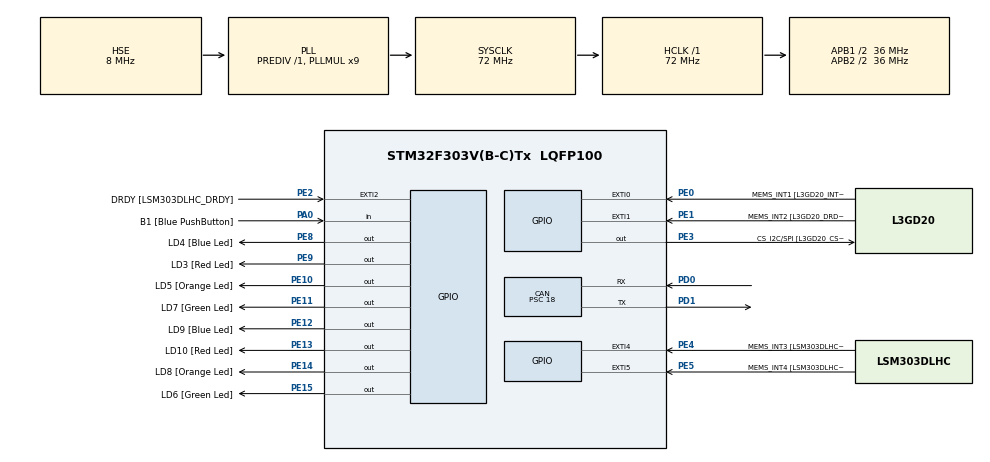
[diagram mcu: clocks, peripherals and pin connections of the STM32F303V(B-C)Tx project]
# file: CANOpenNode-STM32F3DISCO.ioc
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CAN.BS1=CAN_BS1_13TQ
CAN.BS2=CAN_BS2_2TQ
CAN.CalculateBaudRate=125000
CAN.CalculateTimeBit=8000
CAN.CalculateTimeQuantum=500.0
CAN.NART=ENABLE
CAN.Prescaler=18
FREERTOS.HEAP_NUMBER=1
FREERTOS.Tasks01=defaultTask,24,128,StartDefaultTask,Default,NULL,Dynamic,NULL,NULL;commTask,32,256,StartCommTask,Default,NULL,Dynamic,NULL,NULL
FREERTOS.configTOTAL_HEAP_SIZE=6144
Mcu.Family=STM32F3
Mcu.Name=STM32F303V(B-C)Tx
Mcu.Package=LQFP100
NVIC.CAN_RX1_IRQn=true\:4\:0\:true\:false\:true\:false\:true\:true\:true
NVIC.CAN_SCE_IRQn=true\:5\:0\:false\:false\:true\:true\:true\:true\:true
NVIC.PriorityGroup=NVIC_PRIORITYGROUP_4
NVIC.TIM1_BRK_TIM15_IRQn=true\:5\:0\:false\:false\:true\:true\:true\:true\:true
NVIC.TIM2_IRQn=true\:15\:0\:false\:false\:true\:false\:false\:true\:true
NVIC.TimeBase=TIM2_IRQn
NVIC.TimeBaseIP=TIM2
NVIC.USB_HP_CAN_TX_IRQn=true\:5\:0\:false\:false\:true\:true\:true\:true\:true
NVIC.USB_LP_CAN_RX0_IRQn=true\:4\:0\:true\:false\:true\:false\:true\:true\:true
PA0.GPIO_Label=B1 [Blue PushButton]
PA0.Signal=GPIO_Input
PA11.GPIO_Label=DM
PA11.Signal=USB_DM
PA12.GPIO_Label=DP
PA12.Signal=USB_DP
PA13.GPIO_Label=SWDIO
PA13.Mode=Serial_Wire
PA13.Signal=SYS_JTMS-SWDIO
PA14.GPIO_Label=SWCLK
PA14.Mode=Serial_Wire
PA14.Signal=SYS_JTCK-SWCLK
PA5.GPIO_Label=SPI1_SCK [L3GD20_SCL/SPC]
PA5.Signal=SPI1_SCK
PA6.GPIO_Label=SPI1_MISO [L3GD20_SA0/SDO]
PA6.Signal=SPI1_MISO
PA7.GPIO_Label=SPI1_MISO [L3GD20_SDA/SDI/SDO]
PA7.Signal=SPI1_MOSI
PB3.GPIO_Label=SWO
PB3.Signal=SYS_JTDO-TRACESWO
PB6.GPIO_Label=I2C1_SCL [LSM303DLHC_SCL]
PB6.GPIO_Pu=GPIO_PULLUP
PB6.Signal=I2C1_SCL
PB7.GPIO_Label=I2C1_SDA [LSM303DLHC_SDA]
PB7.GPIO_Pu=GPIO_PULLUP
PB7.Signal=I2C1_SDA
PC14-OSC32_IN.GPIO_Label=OSC32_IN
PC14-OSC32_IN.Signal=RCC_OSC32_IN
PC15-OSC32_OUT.GPIO_Label=OSC32_OUT
PC15-OSC32_OUT.Signal=RCC_OSC32_OUT
PD0.Mode=CAN_Activate
PD0.Signal=CAN_RX
PD1.Mode=CAN_Activate
PD1.Signal=CAN_TX
PE0.GPIO_Label=MEMS_INT1 [L3GD20_INT1]
PE0.GPIO_ModeDefaultEXTI=GPIO_MODE_EVT_RISING
PE0.Signal=GPXTI0
PE1.GPIO_Label=MEMS_INT2 [L3GD20_DRDY/INT2]
PE1.GPIO_ModeDefaultEXTI=GPIO_MODE_EVT_RISING
PE1.Signal=GPXTI1
PE10.GPIO_Label=LD5 [Orange Led]
PE10.Signal=GPIO_Output
PE11.GPIO_Label=LD7 [Green Led]
PE11.Signal=GPIO_Output
PE12.GPIO_Label=LD9 [Blue Led]
PE12.Signal=GPIO_Output
PE13.GPIO_Label=LD10 [Red Led]
PE13.Signal=GPIO_Output
PE14.GPIO_Label=LD8 [Orange Led]
PE14.Signal=GPIO_Output
PE15.GPIO_Label=LD6 [Green Led]
PE15.Signal=GPIO_Output
PE2.GPIO_Label=DRDY [LSM303DLHC_DRDY]
PE2.GPIO_ModeDefaultEXTI=GPIO_MODE_EVT_RISING
PE2.Signal=GPXTI2
PE3.GPIO_Label=CS_I2C/SPI [L3GD20_CS_I2C/SPI]
PE3.Signal=GPIO_Output
PE4.GPIO_Label=MEMS_INT3 [LSM303DLHC_INT1]
PE4.GPIO_ModeDefaultEXTI=GPIO_MODE_EVT_RISING
PE4.Signal=GPXTI4
PE5.GPIO_Label=MEMS_INT4 [LSM303DLHC_INT2]
PE5.GPIO_ModeDefaultEXTI=GPIO_MODE_EVT_RISING
PE5.Signal=GPXTI5
PE8.GPIO_Label=LD4 [Blue Led]
PE8.Signal=GPIO_Output
PE9.GPIO_Label=LD3 [Red Led]
PE9.Signal=GPIO_Output
PF0-OSC_IN.GPIO_Label=OSC_IN
PF0-OSC_IN.Mode=HSE-External-Clock-Source
PF0-OSC_IN.Signal=RCC_OSC_IN
PF1-OSC_OUT.GPIO_Label=OSC_OUT
PF1-OSC_OUT.Signal=RCC_OSC_OUT
ProjectManager.HeapSize=0x200
ProjectManager.StackSize=0x400
ProjectManager.TargetToolchain=STM32CubeIDE
RCC.AHBFreq_Value=72000000
RCC.APB1CLKDivider=RCC_HCLK_DIV2
RCC.APB1Freq_Value=36000000
RCC.APB1TimFreq_Value=72000000
RCC.APB2CLKDivider=RCC_HCLK_DIV2
RCC.APB2Freq_Value=36000000
RCC.APB2TimFreq_Value=72000000
RCC.CortexFreq_Value=72000000
RCC.HCLKFreq_Value=72000000
RCC.HSE_VALUE=8000000
RCC.HSI_VALUE=8000000
RCC.LSE_VALUE=32768
RCC.PLLMUL=RCC_PLL_MUL9
RCC.PLLSourceVirtual=RCC_PLLSOURCE_HSE
RCC.PRESCALERUSB=RCC_USBCLKSOURCE_PLL_DIV1_5
RCC.SYSCLKFreq_VALUE=72000000
RCC.SYSCLKSourceVirtual=RCC_SYSCLKSOURCE_PLLCLK
RCC.USBFreq_Value=48000000
TIM15.Period=36000
VP_FREERTOS_VS_CMSIS_V2.Mode=CMSIS_V2
VP_SYS_VS_tim2.Mode=TIM2
VP_TIM15_VS_ClockSourceINT.Mode=Internal
board=STM32F3DISCOVERY

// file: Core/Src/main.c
/* USER CODE BEGIN Header */
/**
  ******************************************************************************
  * @file           : main.c
  * @brief          : Main program body
  ******************************************************************************
  * @attention
  *
  * Copyright (c) 2024 STMicroelectronics.
  * All rights reserved.
  *
  * This software is licensed under terms that can be found in the LICENSE file
  * in the root directory of this software component.
  * If no LICENSE file comes with this software, it is provided AS-IS.
  *
  ******************************************************************************
  */
/* USER CODE END Header */
#include "main.h"
#include "cmsis_os.h"
#include "can.h"
#include "tim.h"
#include "gpio.h"

/* USER CODE BEGIN Includes */
#include "CO_app_STM32.h"
/* USER CODE END Includes */

void SystemClock_Config(void);
void MX_FREERTOS_Init(void);

int main(void)
{

  /* MCU Configuration--------------------------------------------------------*/

  /* Reset of all peripherals, Initializes the Flash interface and the Systick. */
  HAL_Init();

  /* Configure the system clock */
  SystemClock_Config();

  /* Initialize all configured peripherals */
  MX_GPIO_Init();
  MX_CAN_Init();
  MX_TIM15_Init();

  /* Init scheduler */
  osKernelInitialize();

  /* Call init function for freertos objects (in cmsis_os2.c) */
  MX_FREERTOS_Init();

  /* Start scheduler */
  osKernelStart();

  /* We should never get here as control is now taken by the scheduler */

  /* Infinite loop */
  while (1)
  {

  }
}

void SystemClock_Config(void)
{
  RCC_OscInitTypeDef RCC_OscInitStruct = {0};
  RCC_ClkInitTypeDef RCC_ClkInitStruct = {0};

  /** Initializes the RCC Oscillators according to the specified parameters
  * in the RCC_OscInitTypeDef structure.
  */
  RCC_OscInitStruct.OscillatorType = RCC_OSCILLATORTYPE_HSE;
  RCC_OscInitStruct.HSEState = RCC_HSE_BYPASS;
  RCC_OscInitStruct.HSEPredivValue = RCC_HSE_PREDIV_DIV1;
  RCC_OscInitStruct.HSIState = RCC_HSI_ON;
  RCC_OscInitStruct.PLL.PLLState = RCC_PLL_ON;
  RCC_OscInitStruct.PLL.PLLSource = RCC_PLLSOURCE_HSE;
  RCC_OscInitStruct.PLL.PLLMUL = RCC_PLL_MUL9;
  if (HAL_RCC_OscConfig(&RCC_OscInitStruct) != HAL_OK)
  {
    Error_Handler();
  }

  /** Initializes the CPU, AHB and APB buses clocks
  */
  RCC_ClkInitStruct.ClockType = RCC_CLOCKTYPE_HCLK|RCC_CLOCKTYPE_SYSCLK
                              |RCC_CLOCKTYPE_PCLK1|RCC_CLOCKTYPE_PCLK2;
  RCC_ClkInitStruct.SYSCLKSource = RCC_SYSCLKSOURCE_PLLCLK;
  RCC_ClkInitStruct.AHBCLKDivider = RCC_SYSCLK_DIV1;
  RCC_ClkInitStruct.APB1CLKDivider = RCC_HCLK_DIV2;
  RCC_ClkInitStruct.APB2CLKDivider = RCC_HCLK_DIV2;

  if (HAL_RCC_ClockConfig(&RCC_ClkInitStruct, FLASH_LATENCY_2) != HAL_OK)
  {
    Error_Handler();
  }
}

void HAL_TIM_PeriodElapsedCallback(TIM_HandleTypeDef *htim)
{
  if (htim->Instance == TIM2) {
    HAL_IncTick();
  }
  /* USER CODE BEGIN Callback 1 */
  if (htim->Instance == TIM15)
    canopen_app_interrupt();
  /* USER CODE END Callback 1 */
}

void Error_Handler(void)
{
  __disable_irq();
  while (1)
  {
  }
}

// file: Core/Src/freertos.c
/* USER CODE BEGIN Header */
/**
  ******************************************************************************
  * File Name          : freertos.c
  * Description        : Code for freertos applications
  ******************************************************************************
  * @attention
  *
  * Copyright (c) 2024 STMicroelectronics.
  * All rights reserved.
  *
  * This software is licensed under terms that can be found in the LICENSE file
  * in the root directory of this software component.
  * If no LICENSE file comes with this software, it is provided AS-IS.
  *
  ******************************************************************************
  */
/* USER CODE END Header */

#include "FreeRTOS.h"
#include "task.h"
#include "main.h"
#include "cmsis_os.h"

/* USER CODE BEGIN Includes */
#include "can.h"
#include "tim.h"
#include "CO_app_STM32.h"
/* USER CODE END Includes */

/* USER CODE BEGIN Variables */
static CANopenNodeSTM32 canOpenNodeSTM32;
/* USER CODE END Variables */
/* Definitions for defaultTask */
osThreadId_t defaultTaskHandle;
const osThreadAttr_t defaultTask_attributes = {
  .name = "defaultTask",
  .stack_size = 128 * 4,
  .priority = (osPriority_t) osPriorityNormal,
};
/* Definitions for commTask */
osThreadId_t commTaskHandle;
const osThreadAttr_t commTask_attributes = {
  .name = "commTask",
  .stack_size = 256 * 4,
  .priority = (osPriority_t) osPriorityAboveNormal,
};

void StartDefaultTask(void *argument);
void StartCommTask(void *argument);

void MX_FREERTOS_Init(void); /* (MISRA C 2004 rule 8.1) */

void MX_FREERTOS_Init(void) {

  /* Create the thread(s) */
  /* creation of defaultTask */
  defaultTaskHandle = osThreadNew(StartDefaultTask, NULL, &defaultTask_attributes);

  /* creation of commTask */
  commTaskHandle = osThreadNew(StartCommTask, NULL, &commTask_attributes);

}

void StartDefaultTask(void *argument)
{
  for(;;)
  {
    osDelay(1);
  }
}

void StartCommTask(void *argument)
{
  /* USER CODE BEGIN StartCommTask */
  canOpenNodeSTM32.CANHandle = &hcan;
  canOpenNodeSTM32.HWInitFunction = MX_CAN_Init;
  canOpenNodeSTM32.timerHandle = &htim15;
  // make sure node ID is in 1-127 range
  canOpenNodeSTM32.desiredNodeID = 2;
  canOpenNodeSTM32.baudrate = 125;
  int result = canopen_app_init(&canOpenNodeSTM32);
  if (result != 0)
  {
    return;
  }

  /* Infinite loop */
  for (;;)
  {
    canopen_app_process();
    // Sleep for 1ms, you can decrease it if required, in the canopen_app_process we will double check to make sure 1ms
    // passed
    osDelay(pdMS_TO_TICKS(1));
  }
  /* USER CODE END StartCommTask */
}
